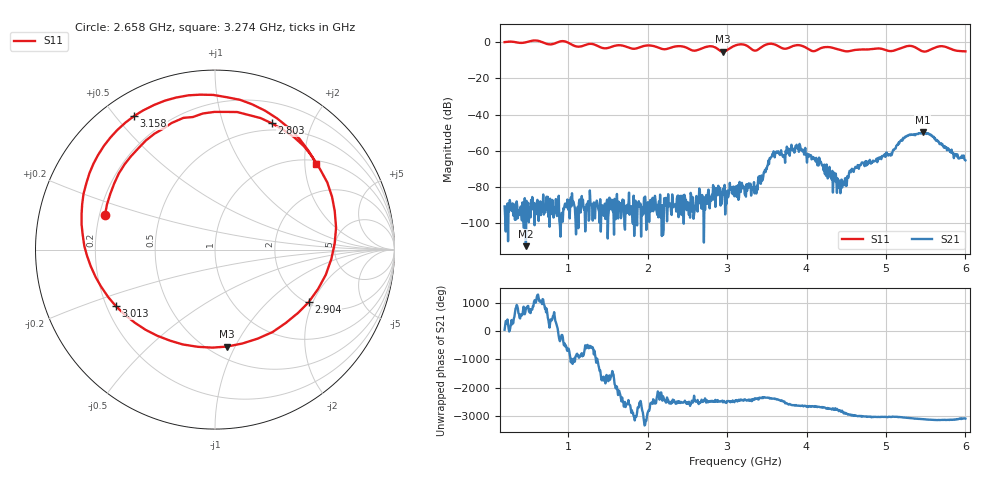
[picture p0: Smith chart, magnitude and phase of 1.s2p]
! NanoVNA-App
! Date: 2024-06-25 16:03:52
! Start: 200MHz Stop: 6GHz Points: 801
! S-Parameter data: F S11 S21 S12 S22
# Hz S RI R 50
!  Frequency  S11_Real  S11_Imag  S21_Real  S21_Imag  S12_Real  S12_Imag  S22_Real  S22_Imag
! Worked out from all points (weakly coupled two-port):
!   801 points, 200 MHz to 6 GHz, reference 50 ohm
!   highest |S21| = -49.47 dB at 5.463 GHz (marker M1); lowest = -112.5 dB at 468.2 MHz (marker M2)
!   lowest |S11| = -5.3 dB at 2.948 GHz (marker M3), VSWR 3.39, Z = 30.3 - j46.6 ohm
!   |S11| at or under -10 dB: nowhere
!   S12 and S22 are empty: the file has one direction only
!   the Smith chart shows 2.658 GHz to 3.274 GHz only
!   S11 on the Smith chart (normalised r, x): 2.658 GHz: 0.22, +0.14; 2.803 GHz: 0.42, +1.46; 2.904 GHz: 2.03, -1.86; 3.013 GHz: 0.24, -0.25; 3.158 GHz: 0.09, +0.56; 3.274 GHz: 1.09, +2.29
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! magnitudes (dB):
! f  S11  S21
! 200 MHz  0.0  -90.6
! 468.2 MHz  0.0  -112.5
! 1.171 GHz  -2.2  -84.8
! 2.136 GHz  -3.0  -96.6
! 2.658 GHz  -3.8  -81.9
! 2.803 GHz  -2.3  -87.4
! 2.904 GHz  -4.5  -81.1
! 2.948 GHz  -5.3  -81.0
! 3.013 GHz  -3.9  -85.6
! 3.1 GHz  -1.9  -82.0
! 3.158 GHz  -1.2  -77.1
! 3.274 GHz  -2.6  -77.9
! 3.433 GHz  -2.7  -73.5
! 3.6 GHz  -1.2  -63.5
! 3.89 GHz  -1.6  -58.5
! 4.072 GHz  -4.9  -64.3
! 4.449 GHz  -4.6  -80.2
! 4.695 GHz  -4.0  -66.4
! 5.036 GHz  -4.8  -62.0
! 5.246 GHz  -2.4  -52.0
! 5.463 GHz  -5.0  -49.5
! 6 GHz  -5.0  -65.2
